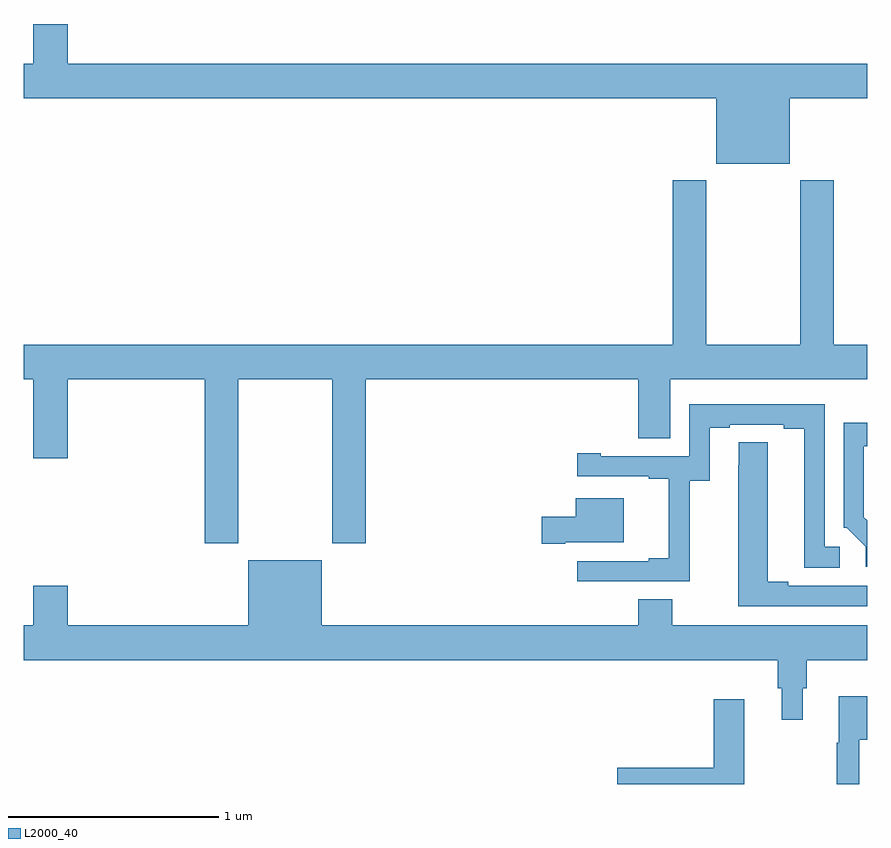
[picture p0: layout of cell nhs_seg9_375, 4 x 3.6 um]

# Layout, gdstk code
import gdstk
lib = gdstk.Library(unit=1e-6, precision=1e-09)
def P(c, l, *ps):  # polygons
    for p in ps: c.add(gdstk.Polygon(p, *l))
L2000_40 = (2000, 40)

nhs_seg9_375 = lib.new_cell('nhs_seg9_375')
P(nhs_seg9_375, L2000_40, [(132.634,1197.752),(133,1197.752),(133,1197.916),(129.208,1197.916),(129.208,1198.105),(129.044,1198.105),(129.044,1197.916),(129,1197.916),(129,1197.752),(132.284,1197.752),(132.284,1197.443),(132.634,1197.443)],
  [(132.682,1197.364),(132.682,1196.584),(132.237,1196.584),(132.237,1197.364),(132.077,1197.364),(132.077,1196.584),(129,1196.584),(129,1196.42),(129.044,1196.42),(129.044,1196.046),(129.208,1196.046),(129.208,1196.42),(129.857,1196.42),(129.857,1195.641),(130.017,1195.641),(130.017,1196.42),(130.462,1196.42),(130.462,1195.641),(130.622,1195.641),(130.622,1196.42),(131.915,1196.42),(131.915,1196.14),(132.067,1196.14),(132.067,1196.42),(133,1196.42),(133,1196.584),(132.842,1196.584),(132.842,1197.364)],
  [(132.159,1195.939),(132.253,1195.939),(132.253,1196.19),(132.349,1196.19),(132.349,1196.205),(132.605,1196.205),(132.605,1196.185),(132.701,1196.185),(132.701,1195.525),(132.871,1195.525),(132.871,1195.626),(132.798,1195.626),(132.798,1196.301),(132.156,1196.301),(132.156,1196.055),(131.737,1196.055),(131.737,1196.068),(131.625,1196.068),(131.625,1195.959),(131.963,1195.959),(131.963,1195.947),(132.059,1195.947),(132.059,1195.57),(131.963,1195.57),(131.963,1195.557),(131.625,1195.557),(131.625,1195.461),(132.159,1195.461)],
  [(133,1195.751),(132.985,1195.766),(132.985,1196.103),(133,1196.103),(133,1196.213),(132.888,1196.213),(132.888,1195.716),(132.903,1195.716),(132.993,1195.626),(132.993,1195.53),(133,1195.53)],
  [(133,1195.44),(132.625,1195.44),(132.625,1195.46),(132.529,1195.46),(132.529,1196.12),(132.39,1196.12),(132.39,1196.012),(132.389,1196.012),(132.389,1195.344),(133,1195.344)],
  [(131.569,1195.646),(131.845,1195.646),(131.845,1195.855),(131.618,1195.855),(131.618,1195.768),(131.457,1195.768),(131.457,1195.639),(131.569,1195.639)],
  [(132.694,1194.954),(132.713,1194.954),(132.713,1195.088),(133,1195.088),(133,1195.252),(132.075,1195.252),(132.075,1195.376),(131.915,1195.376),(131.915,1195.252),(130.414,1195.252),(130.414,1195.561),(130.064,1195.561),(130.064,1195.252),(129.208,1195.252),(129.208,1195.441),(129.044,1195.441),(129.044,1195.252),(129,1195.252),(129,1195.088),(132.577,1195.088),(132.577,1194.954),(132.596,1194.954),(132.596,1194.804),(132.694,1194.804)],
  [(132.963,1194.71),(133,1194.71),(133,1194.916),(132.866,1194.916),(132.866,1194.696),(132.855,1194.696),(132.855,1194.5),(132.963,1194.5)],
  [(132.418,1194.901),(132.272,1194.901),(132.272,1194.578),(131.814,1194.578),(131.814,1194.5),(132.418,1194.5)])

lib.write_gds('nhs_seg9_375.gds')
